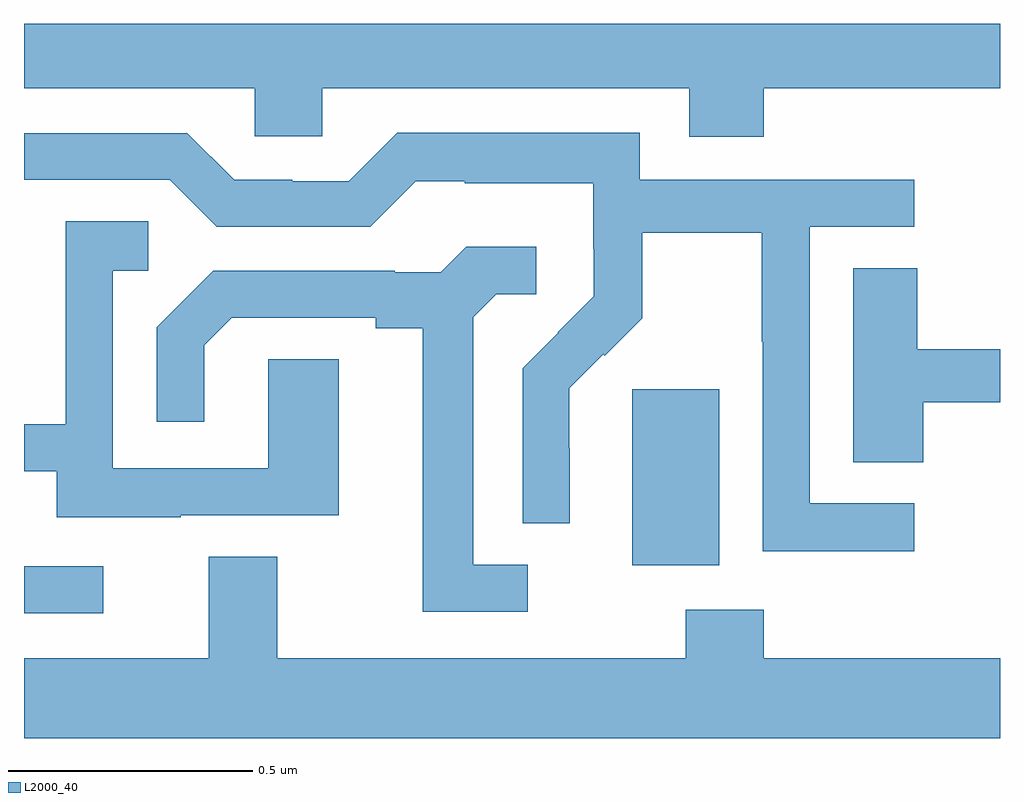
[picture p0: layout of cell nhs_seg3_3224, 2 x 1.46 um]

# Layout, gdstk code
import gdstk
lib = gdstk.Library(unit=1e-6, precision=1e-09)
def R(c, l, rs):  # rectangles x0, y0, x1, y1
    for r in rs: c.add(gdstk.rectangle(r[:2], r[2:], *l))
def P(c, l, *ps):  # polygons
    for p in ps: c.add(gdstk.Polygon(p, *l))
L2000_40 = (2000, 40)

nhs_seg3_3224 = lib.new_cell('nhs_seg3_3224')
R(nhs_seg3_3224, L2000_40, [(151,681.192,151.162,681.288), (152.246,681.29,152.425,681.651)])
P(nhs_seg3_3224, L2000_40, [(152.516,682.268),(153,682.268),(153,682.4),(151,682.4),(151,682.268),(151.473,682.268),(151.473,682.17),(151.611,682.17),(151.611,682.268),(152.363,682.268),(152.363,682.169),(152.516,682.169)],
  [(152.824,681.417),(152.61,681.417),(152.61,681.984),(152.824,681.984),(152.824,682.08),(152.262,682.08),(152.262,682.177),(151.765,682.177),(151.665,682.077),(151.55,682.077),(151.55,682.08),(151.431,682.08),(151.335,682.176),(151,682.176),(151,682.08),(151.299,682.08),(151.395,681.984),(151.71,681.984),(151.803,682.077),(151.903,682.077),(151.903,682.073),(152.166,682.073),(152.166,681.939),(152.168,681.939),(152.168,681.842),(152.094,681.768),(152.095,681.767),(152.022,681.694),(152.022,681.376),(152.118,681.376),(152.118,681.53),(152.117,681.53),(152.117,681.653),(152.187,681.723),(152.19,681.72),(152.267,681.797),(152.267,681.972),(152.512,681.972),(152.512,681.748),(152.514,681.748),(152.514,681.319),(152.824,681.319)],
  [(151.321,681.393),(151.645,681.393),(151.645,681.713),(151.5,681.713),(151.5,681.489),(151.182,681.489),(151.182,681.894),(151.255,681.894),(151.255,681.995),(151.086,681.995),(151.086,681.579),(151,681.579),(151,681.483),(151.067,681.483),(151.067,681.389),(151.321,681.389)],
  [(152.032,681.291),(151.921,681.291),(151.921,681.799),(151.968,681.846),(152.05,681.846),(152.05,681.943),(151.906,681.943),(151.854,681.891),(151.76,681.891),(151.76,681.894),(151.388,681.894),(151.272,681.778),(151.272,681.585),(151.369,681.585),(151.369,681.741),(151.426,681.798),(151.721,681.798),(151.721,681.776),(151.817,681.776),(151.817,681.195),(152.032,681.195)],
  [(152.843,681.624),(153,681.624),(153,681.733),(152.83,681.733),(152.83,681.899),(152.699,681.899),(152.699,681.502),(152.843,681.502)],
  [(153,681.1),(152.516,681.1),(152.516,681.199),(152.356,681.199),(152.356,681.1),(151.519,681.1),(151.519,681.308),(151.379,681.308),(151.379,681.1),(151,681.1),(151,680.936),(153,680.936)])

lib.write_gds('nhs_seg3_3224.gds')
